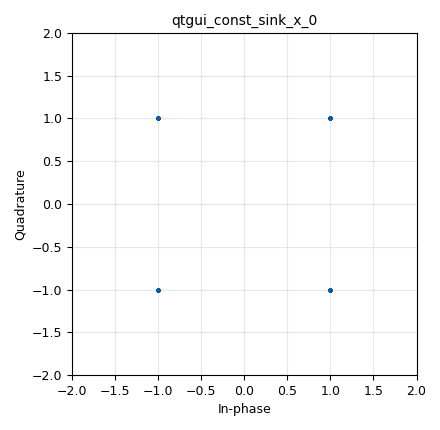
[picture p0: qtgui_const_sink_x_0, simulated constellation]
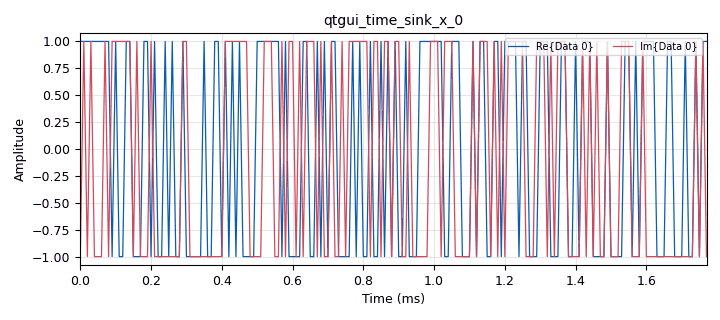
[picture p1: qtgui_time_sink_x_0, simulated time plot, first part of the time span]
<?xml version='1.0' encoding='utf-8'?>
<?grc format='1' created='3.7.8'?>
<flow_graph>
<block>
<key>options</key>
<param><key>id</key><value>top_block</value></param>
<param><key>category</key><value>Custom</value></param>
<param><key>generate_options</key><value>qt_gui</value></param>
</block>
<block>
<key>variable_qtgui_range</key>
<param><key>id</key><value>cutoff_freq</value></param>
<param><key>value</key><value>50000</value></param>
<param><key>orient</key><value>Qt.Horizontal</value></param>
<param><key>start</key><value>0</value></param>
<param><key>step</key><value>1000</value></param>
<param><key>stop</key><value>100000</value></param>
</block>
<block>
<key>variable_qtgui_range</key>
<param><key>id</key><value>noise_level</value></param>
<param><key>value</key><value>0</value></param>
<param><key>orient</key><value>Qt.Horizontal</value></param>
<param><key>start</key><value>0</value></param>
<param><key>step</key><value>0.01</value></param>
<param><key>stop</key><value>1</value></param>
</block>
<block>
<key>variable</key>
<param><key>id</key><value>samp_rate</value></param>
<param><key>value</key><value>100000</value></param>
</block>
<block>
<key>analog_noise_source_x</key>
<param><key>id</key><value>Gausssion</value></param>
<param><key>amp</key><value>noise_level</value></param>
<param><key>noise_type</key><value>analog.GR_GAUSSIAN</value></param>
<param><key>type</key><value>complex</value></param>
<param><key>seed</key><value>0</value></param>
</block>
<block>
<key>analog_random_source_x</key>
<param><key>id</key><value>analog_random_source_x_0</value></param>
<param><key>max</key><value>4</value></param>
<param><key>min</key><value>0</value></param>
<param><key>num_samps</key><value>1000</value></param>
<param><key>type</key><value>byte</value></param>
<param><key>repeat</key><value>True</value></param>
</block>
<block>
<key>blocks_add_xx</key>
<param><key>id</key><value>blocks_add_xx_0</value></param>
<param><key>type</key><value>complex</value></param>
</block>
<block>
<key>blocks_throttle</key>
<param><key>id</key><value>blocks_throttle_0</value></param>
<param><key>samples_per_second</key><value>samp_rate</value></param>
<param><key>type</key><value>complex</value></param>
</block>
<block>
<key>digital_chunks_to_symbols_xx</key>
<param><key>id</key><value>digital_chunks_to_symbols_xx_0</value></param>
<param><key>dimension</key><value>1</value></param>
<param><key>in_type</key><value>byte</value></param>
<param><key>out_type</key><value>complex</value></param>
<param><key>symbol_table</key><value>(complex(1,1),complex(1,-1),complex(-1,1),complex(-1,-1))</value></param>
</block>
<block>
<key>low_pass_filter</key>
<param><key>id</key><value>low_pass_filter_0</value></param>
<param><key>cutoff_freq</key><value>cutoff_freq</value></param>
<param><key>decim</key><value>1</value></param>
<param><key>type</key><value>fir_filter_ccf</value></param>
<param><key>gain</key><value>1</value></param>
<param><key>samp_rate</key><value>samp_rate</value></param>
<param><key>width</key><value>1000</value></param>
<param><key>win</key><value>firdes.WIN_HAMMING</value></param>
</block>
<block>
<key>qtgui_const_sink_x</key>
<param><key>id</key><value>qtgui_const_sink_x_0</value></param>
<param><key>size</key><value>1024</value></param>
<param><key>type</key><value>complex</value></param>
</block>
<block>
<key>qtgui_time_sink_x</key>
<param><key>id</key><value>qtgui_time_sink_x_0</value></param>
<param><key>color1</key><value>"blue"</value></param>
<param><key>label1</key><value></value></param>
<param><key>color2</key><value>"red"</value></param>
<param><key>label2</key><value></value></param>
<param><key>size</key><value>1024</value></param>
<param><key>srate</key><value>samp_rate</value></param>
<param><key>type</key><value>complex</value></param>
</block>
<connection><source_block_id>Gausssion</source_block_id><sink_block_id>blocks_add_xx_0</sink_block_id><source_key>0</source_key><sink_key>0</sink_key></connection>
<connection><source_block_id>analog_random_source_x_0</source_block_id><sink_block_id>digital_chunks_to_symbols_xx_0</sink_block_id><source_key>0</source_key><sink_key>0</sink_key></connection>
<connection><source_block_id>blocks_add_xx_0</source_block_id><sink_block_id>low_pass_filter_0</sink_block_id><source_key>0</source_key><sink_key>0</sink_key></connection>
<connection><source_block_id>blocks_throttle_0</source_block_id><sink_block_id>qtgui_const_sink_x_0</sink_block_id><source_key>0</source_key><sink_key>0</sink_key></connection>
<connection><source_block_id>blocks_throttle_0</source_block_id><sink_block_id>qtgui_time_sink_x_0</sink_block_id><source_key>0</source_key><sink_key>0</sink_key></connection>
<connection><source_block_id>digital_chunks_to_symbols_xx_0</source_block_id><sink_block_id>blocks_add_xx_0</sink_block_id><source_key>0</source_key><sink_key>1</sink_key></connection>
<connection><source_block_id>low_pass_filter_0</source_block_id><sink_block_id>blocks_throttle_0</sink_block_id><source_key>0</source_key><sink_key>0</sink_key></connection>
</flow_graph>
